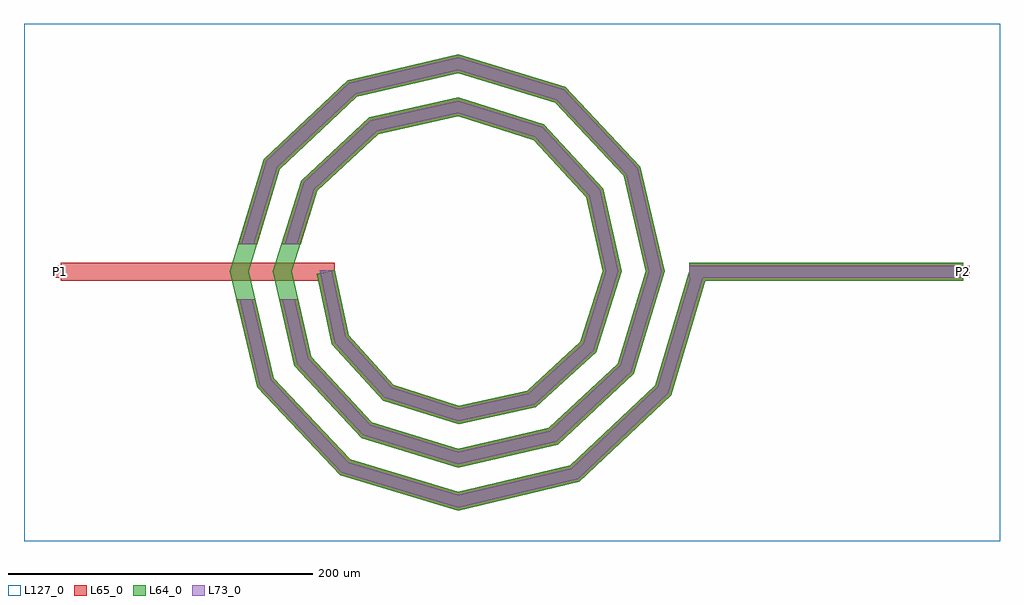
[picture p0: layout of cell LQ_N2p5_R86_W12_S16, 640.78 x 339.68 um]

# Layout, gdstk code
import gdstk
lib = gdstk.Library(unit=1e-6, precision=1e-09)
def R(c, l, rs):  # rectangles x0, y0, x1, y1
    for r in rs: c.add(gdstk.rectangle(r[:2], r[2:], *l))
def P(c, l, *ps):  # polygons
    for p in ps: c.add(gdstk.Polygon(p, *l))
L64_0 = (64, 0)
L65_0 = (65, 0)
L73_0 = (73, 0)
L127_0 = (127, 0)

lq_n2p5_r86_w12_s16 = lib.new_cell('LQ_N2p5_R86_W12_S16')
R(lq_n2p5_r86_w12_s16, L64_0, [(151.791,-6,331.791,6)])
P(lq_n2p5_r86_w12_s16, L64_0, [(-71.85,-41.836),(-42.493,-74.196),(0.291,-87.862),(45.356,-77.993),(80.316,-46.051),(94.942,0.27),(84.133,48.879),(49.607,86.438),(0.253,102.021),(-52.405,90.273),(-92.562,53.161),(-109.101,0.237),(-96.412,-55.932),(-56.713,-98.686),(0.223,-116.181),(59.46,-102.55),(104.811,-60.264),(123.261,0.211),(108.687,62.99),(63.814,110.937),(0.2,130.341),(-66.521,114.824),(-117.063,67.363),(-137.421,0.19),(-120.96,-70.053),(-70.911,-123.19),(0.181,-144.501),(73.585,-127.096),(129.318,-74.458),(152.041,1.715),(163.541,-1.715),(139.897,-80.973),(79.485,-138.03),(0.181,-156.92),(-77.44,-133.761),(-131.903,-75.938),(-149.84,0.19),(-127.624,73.907),(-72.389,125.775),(0.2,142.759),(70.376,121.487),(119.648,68.84),(135.678,0.211),(115.349,-66.845),(65.289,-113.522),(0.223,-128.598),(-63.316,-109.211),(-107.397,-61.737),(-121.517,0.237),(-103.071,59.788),(-58.184,101.272),(0.253,114.436),(56.261,96.931),(95.148,54.629),(107.355,0.27),(90.79,-52.737),(51.072,-89.025),(0.291,-100.274),(-49.215,-84.646),(-82.904,-47.511),(-92.853,-1.262),(-81.122,1.262)])
R(lq_n2p5_r86_w12_s16, L65_0, [(-260.987,-6,-80.987,6), (151.791,-6,331.791,6), (-264.987,-4,-256.987,4), (327.791,-4,335.791,4)])
P(lq_n2p5_r86_w12_s16, L65_0, [(-120.961,-70.053),(-70.911,-123.19),(0.182,-144.501),(73.585,-127.096),(129.318,-74.458),(152.042,1.715),(163.541,-1.715),(139.897,-80.973),(79.485,-138.03),(0.182,-156.92),(-77.44,-133.761),(-131.903,-75.938),(-145.554,-18),(-133.225,-18)],
  [(-96.412,-55.932),(-56.713,-98.686),(0.223,-116.181),(59.46,-102.55),(104.811,-60.264),(123.261,0.211),(108.687,62.99),(63.814,110.937),(0.2,130.341),(-66.521,114.824),(-117.063,67.363),(-131.939,18),(-144.472,18),(-127.624,73.907),(-72.389,125.775),(0.2,142.759),(70.376,121.487),(119.649,68.84),(135.678,0.211),(115.349,-66.845),(65.289,-113.522),(0.223,-128.598),(-63.316,-109.211),(-107.397,-61.737),(-117.362,-18),(-105.054,-18)],
  [(-42.493,-74.196),(0.291,-87.862),(45.356,-77.993),(80.316,-46.051),(94.942,0.27),(84.134,48.88),(49.607,86.438),(0.253,102.021),(-52.405,90.273),(-92.562,53.161),(-103.452,18),(-116.015,18),(-103.071,59.788),(-58.184,101.272),(0.253,114.436),(56.261,96.931),(95.148,54.629),(107.355,0.27),(90.79,-52.737),(51.072,-89.025),(0.291,-100.274),(-49.215,-84.646),(-82.904,-47.511),(-92.853,-1.262),(-81.122,1.262),(-71.85,-41.836)])
R(lq_n2p5_r86_w12_s16, L73_0, [(151.791,-4,331.791,4)])
P(lq_n2p5_r86_w12_s16, L73_0, [(-122.784,-71.034),(-71.999,-124.952),(0.121,-146.571),(74.569,-128.919),(131.081,-75.544),(153.958,1.144),(161.624,-1.144),(138.134,-79.887),(78.502,-136.208),(0.121,-154.85),(-76.352,-131.999),(-130.079,-74.957),(-143.499,-18),(-135.28,-18)],
  [(-98.243,-56.899),(-57.814,-100.44),(0.149,-118.251),(60.432,-104.379),(106.567,-61.361),(125.331,0.141),(110.514,63.965),(64.908,112.695),(0.134,132.411),(-67.499,116.649),(-118.823,68.454),(-134.028,18),(-142.384,18),(-125.864,72.817),(-71.411,123.95),(0.134,140.689),(69.282,119.729),(117.822,67.865),(133.609,0.141),(113.593,-65.749),(64.318,-111.694),(0.149,-126.528),(-62.216,-107.457),(-105.566,-60.77),(-115.31,-18),(-107.105,-18)],
  [(-43.613,-75.938),(0.194,-89.931),(46.309,-79.831),(82.062,-47.166),(97.01,0.18),(85.969,49.838),(50.716,88.187),(0.168,104.09),(-53.368,92.106),(-94.313,54.265),(-105.546,18),(-113.921,18),(-101.32,58.683),(-57.221,99.439),(0.168,112.367),(55.152,95.182),(93.312,53.671),(105.286,0.18),(89.044,-51.623),(50.119,-87.187),(0.194,-98.205),(-48.094,-82.905),(-81.062,-46.566),(-90.898,0.841),(-83.077,0.841),(-73.693,-42.782)])
R(lq_n2p5_r86_w12_s16, L127_0, [(-284.987,-176.92,355.791,162.759)])
lq_n2p5_r86_w12_s16.add(gdstk.Label('P2', (331.791,0), layer=65, texttype=0))
lq_n2p5_r86_w12_s16.add(gdstk.Label('P1', (-260.987,0), layer=65, texttype=0))
lq_n2p5_r86_w12_s16.add(gdstk.Label('P2', (335.791,0), layer=145, texttype=0))
lq_n2p5_r86_w12_s16.add(gdstk.Label('P1', (-264.987,0), layer=145, texttype=0))

lib.write_gds('LQ_N2p5_R86_W12_S16.gds')
